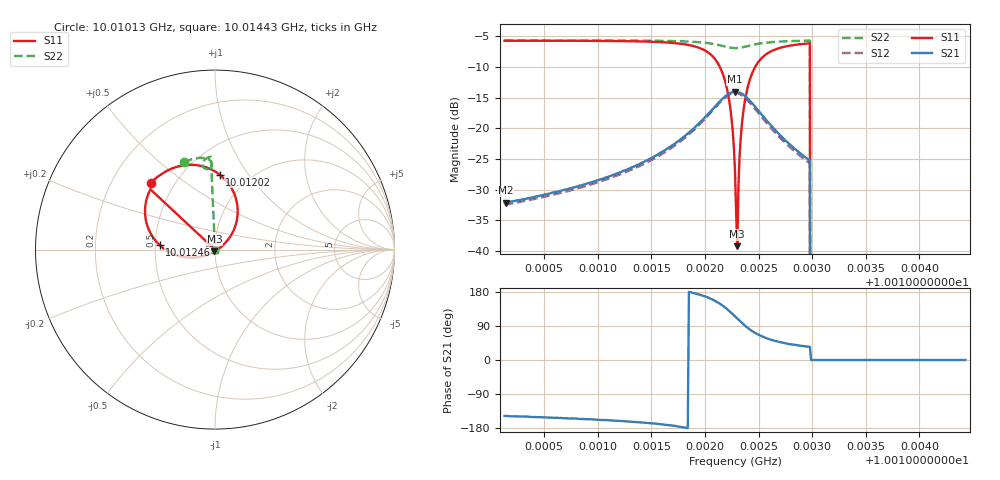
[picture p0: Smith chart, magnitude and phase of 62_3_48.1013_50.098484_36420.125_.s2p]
#  HZ  S  RI  R  50.00
! Rohde & Schwarz Vector Network Analyzer
! Rohde-Schwarz,ZNB20-2Port,1311601062101988,3.16
! Created: UTC 12/23/2023, 3:40:52 AM
! freq[Hz]  re:S11  im:S11  re:S21  im:S21  re:S12  im:S12  re:S22  im:S22
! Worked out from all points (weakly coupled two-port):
!   401 points, 10.01013 GHz to 10.01443 GHz, reference 50 ohm
!   highest |S21| = -14.04 dB at 10.01228 GHz (marker M1); lowest = -32.1 dB at 10.01014 GHz (marker M2)
!   lowest |S11| = -39.2 dB at 10.0123 GHz (marker M3), VSWR 1.02, Z = 49.7 - j1.05 ohm
!   |S11| at or under -10 dB: 10.01214 GHz to 10.01247 GHz (329.7 kHz wide, 0.00329 % of centre); 10.01298 GHz to end of sweep
!   |S22| runs from - to -5.7 dB; largest |S21 - S12| = 0.0091
!   S11 on the Smith chart (normalised r, x): 10.01013 GHz: 0.37, +0.38; 10.01202 GHz: 0.73, +0.74; 10.01246 GHz: 0.53, +0.03; 10.01443 GHz: 1.00, +0.00
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1.0010131e10  -0.3573 0.3733  -0.0209 -0.0133  -0.0193 -0.0138  -0.1732 0.4893
1.0010142e10  -0.3567 0.3739  -0.0209 -0.0133  -0.0195 -0.0138  -0.1726 0.4894
1.0010851e10  -0.3013 0.4189  -0.0313 -0.0141  -0.0294 -0.0152  -0.1262 0.5038
1.0011571e10  -0.1914 0.4665  -0.0608 -0.0119  -0.0578 -0.0145  -0.0718 0.5114
1.0012022e10  0.0255 0.4182  -0.1247 0.0317  -0.1226 0.0249  -0.0252 0.4946
1.001213e10  0.108 0.3094  -0.1408 0.081  -0.1415 0.0725  -0.0177 0.4763
1.0012205e10  0.123 0.1709  -0.131 0.133  -0.1338 0.1246  -0.0222 0.4593
1.0012248e10  0.0896 0.0799  -0.1083 0.1632  -0.1119 0.1559  -0.0307 0.4514
1.0012259e10  0.0754 0.0589  -0.1007 0.1696  -0.1049 0.1622  -0.0335 0.4501
1.001228e10  0.0401 0.0203  -0.0836 0.1802  -0.0884 0.1729  -0.0393 0.4484
1.0012302e10  -0.0029 -0.0105  -0.0644 0.187  -0.0697 0.1802  -0.0455 0.4483
1.0012312e10  -0.0256 -0.0222  -0.0553 0.189  -0.0597 0.1824  -0.0486 0.4489
1.0012345e10  -0.0996 -0.0431  -0.0261 0.1893  -0.0299 0.1831  -0.0569 0.4525
1.0012366e10  -0.1476 -0.0446  -0.00795 0.1854  -0.0123 0.1791  -0.0613 0.4561
1.0012409e10  -0.2324 -0.0247  0.0223 0.1699  0.0163 0.1644  -0.0671 0.4652
1.0012463e10  -0.3087 0.0254  0.046 0.1445  0.0401 0.14  -0.0689 0.477
1.0012624e10  -0.3876 0.179  0.0627 0.0824  0.0565 0.0805  -0.0573 0.5009
1.0012957e10  -0.3627 0.3304  0.0459 0.0325  0.0422 0.033  -0.0252 0.517
1.0013e10  0 0  0 0  0 0  0 0
1.0013011e10  0 0  0 0  0 0  0 0
1.001372e10  0 0  0 0  0 0  0 0
1.001443e10  0 0  0 0  0 0  0 0
